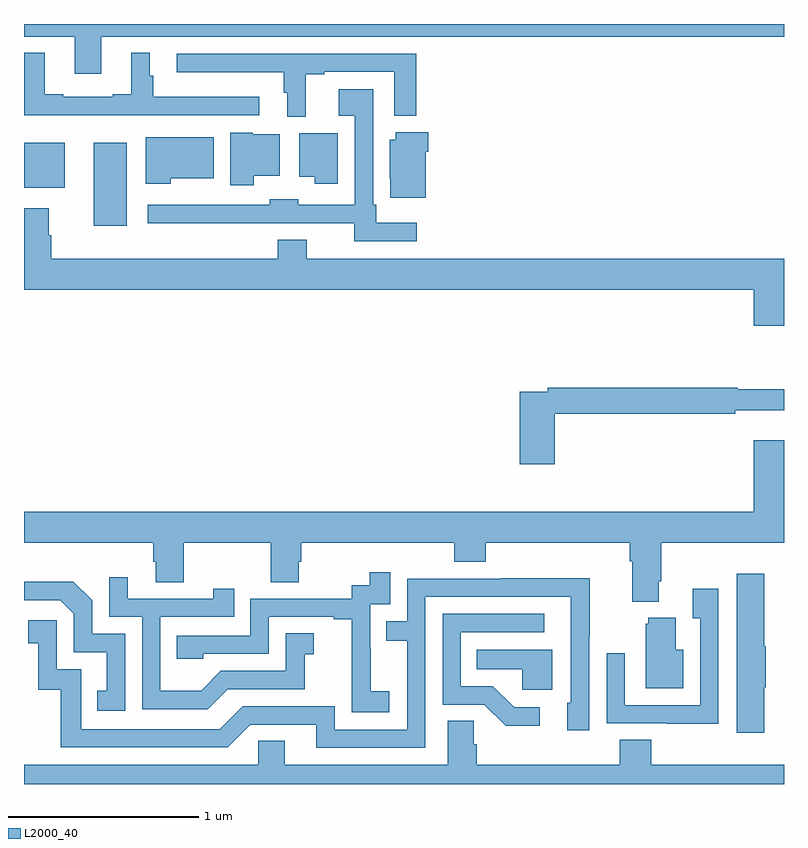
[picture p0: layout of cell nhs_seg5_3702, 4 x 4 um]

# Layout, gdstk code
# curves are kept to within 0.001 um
import gdstk
lib = gdstk.Library(unit=1e-6, precision=1e-09)
def R(c, l, rs):  # rectangles x0, y0, x1, y1
    for r in rs: c.add(gdstk.rectangle(r[:2], r[2:], *l))
def P(c, l, *ps):  # polygons
    for p in ps: c.add(gdstk.Polygon(p, *l))
L2000_40 = (2000, 40)

nhs_seg5_3702 = lib.new_cell('nhs_seg5_3702')
R(nhs_seg5_3702, L2000_40, [(329.366,883.736,329.542,884.173), (329,883.937,329.215,884.173)])
P(nhs_seg5_3702, L2000_40, [(329.407,884.732),(333,884.732),(333,884.799),(329,884.799),(329,884.732),(329.267,884.732),(329.267,884.538),(329.407,884.538)],
  [(329.538,884.319),(330.238,884.319),(330.238,884.416),(329.681,884.416),(329.681,884.526),(329.662,884.526),(329.662,884.647),(329.564,884.647),(329.564,884.428),(329.468,884.428),(329.468,884.415),(329.206,884.415),(329.206,884.428),(329.11,884.428),(329.11,884.647),(329,884.647),(329,884.318),(329.538,884.318)],
  [(330.484,884.535),(330.58,884.535),(330.58,884.547),(330.948,884.547),(330.948,884.315),(331.064,884.315),(331.064,884.643),(329.805,884.643),(329.805,884.546),(330.367,884.546),(330.367,884.436),(330.386,884.436),(330.386,884.31),(330.484,884.31)],
  [(331.066,883.753),(330.854,883.753),(330.854,883.849),(330.837,883.849),(330.837,884.455),(330.657,884.455),(330.657,884.315),(330.741,884.315),(330.741,883.848),(330.444,883.848),(330.444,883.876),(330.294,883.876),(330.294,883.848),(329.99,883.848),(329.99,883.849),(329.652,883.849),(329.652,883.751),(330.739,883.751),(330.739,883.656),(331.066,883.656)],
  [(331.114,884.126),(331.127,884.126),(331.127,884.23),(330.956,884.23),(330.956,884.191),(330.926,884.191),(330.926,883.987),(330.927,883.987),(330.927,883.884),(331.114,883.884)],
  [(330.208,884),(330.346,884),(330.346,884.218),(330.204,884.218),(330.204,884.227),(330.086,884.227),(330.086,883.95),(330.208,883.95)],
  [(330.652,884.224),(330.449,884.224),(330.449,883.994),(330.53,883.994),(330.53,883.958),(330.652,883.958)],
  [(329.772,883.988),(329.998,883.988),(329.998,884.203),(329.642,884.203),(329.642,883.958),(329.772,883.958)],
  [(333,883.564),(330.487,883.564),(330.487,883.663),(330.335,883.663),(330.335,883.564),(329.144,883.564),(329.144,883.688),(329.131,883.688),(329.131,883.828),(329,883.828),(329,883.4),(332.84,883.4),(332.84,883.212),(333,883.212)],
  [(331.793,882.748),(332.744,882.748),(332.744,882.767),(333,882.767),(333,882.877),(332.756,882.877),(332.756,882.884),(331.756,882.884),(331.756,882.864),(331.61,882.864),(331.61,882.483),(331.793,882.483)],
  [(332.341,881.866),(332.354,881.866),(332.354,882.068),(333,882.068),(333,882.607),(332.84,882.607),(332.84,882.232),(329,882.232),(329,882.068),(329.681,882.068),(329.681,881.97),(329.693,881.97),(329.693,881.86),(329.841,881.86),(329.841,882.068),(330.298,882.068),(330.298,881.86),(330.445,881.86),(330.445,881.97),(330.458,881.97),(330.458,882.068),(331.265,882.068),(331.265,881.969),(331.43,881.969),(331.43,882.068),(332.189,882.068),(332.189,881.972),(332.201,881.972),(332.201,881.759),(332.341,881.759)],
  [(330.922,881.287),(330.824,881.287),(330.824,881.516),(330.822,881.516),(330.822,881.745),(330.927,881.745),(330.927,881.914),(330.819,881.914),(330.819,881.844),(330.726,881.844),(330.726,881.775),(330.192,881.775),(330.192,881.58),(329.803,881.58),(329.803,881.457),(329.943,881.457),(329.943,881.484),(330.288,881.484),(330.288,881.679),(330.629,881.679),(330.629,881.667),(330.725,881.667),(330.725,881.383),(330.724,881.383),(330.724,881.177),(330.922,881.177)],
  [(332.896,881.308),(332.904,881.308),(332.904,881.525),(332.896,881.525),(332.896,881.905),(332.75,881.905),(332.75,881.07),(332.896,881.07)],
  [(330.073,881.298),(330.477,881.298),(330.477,881.483),(330.526,881.483),(330.526,881.593),(330.378,881.593),(330.378,881.394),(330.036,881.394),(329.932,881.29),(329.718,881.29),(329.718,881.679),(330.107,881.679),(330.107,881.827),(329.996,881.827),(329.996,881.775),(329.545,881.775),(329.545,881.887),(329.448,881.887),(329.448,881.679),(329.622,881.679),(329.622,881.193),(329.968,881.193)],
  [(331.113,881.784),(331.877,881.784),(331.878,881.226),(331.859,881.226),(331.859,881.082),(331.974,881.082),(331.974,881.575),(331.977,881.575),(331.977,881.882),(331.513,881.882),(331.513,881.88),(331.017,881.88),(331.017,881.655),(330.907,881.655),(330.907,881.554),(331.017,881.554),(331.017,881.085),(330.636,881.085),(330.636,881.208),(330.15,881.208),(330.03,881.088),(329.301,881.088),(329.301,881.403),(329.172,881.403),(329.172,881.662),(329.022,881.662),(329.022,881.541),(329.075,881.541),(329.075,881.295),(329.193,881.295),(329.193,880.992),(330.072,880.992),(330.192,881.112),(330.539,881.112),(330.539,880.989),(331.113,880.989)],
  [(329.532,881.589),(329.358,881.589),(329.358,881.766),(329.26,881.864),(329,881.864),(329,881.766),(329.19,881.766),(329.262,881.694),(329.262,881.493),(329.435,881.493),(329.435,881.289),(329.386,881.289),(329.386,881.184),(329.532,881.184)],
  [(332.655,881.827),(332.519,881.827),(332.519,881.671),(332.559,881.671),(332.559,881.214),(332.163,881.214),(332.163,881.488),(332.067,881.488),(332.067,881.118),(332.383,881.118),(332.383,881.117),(332.655,881.117)],
  [(331.714,881.202),(331.579,881.202),(331.468,881.313),(331.299,881.313),(331.299,881.598),(331.738,881.598),(331.738,881.694),(331.203,881.694),(331.203,881.217),(331.422,881.217),(331.535,881.105),(331.714,881.105)],
  [(332.47,881.506),(332.431,881.506),(332.431,881.674),(332.285,881.674),(332.285,881.643),(332.273,881.643),(332.273,881.303),(332.47,881.303)],
  [(331.78,881.506),(331.384,881.506),(331.384,881.402),(331.623,881.402),(331.623,881.294),(331.78,881.294)],
  [(333,880.9),(332.3,880.9),(332.3,881.033),(332.135,881.033),(332.135,880.9),(331.382,880.9),(331.382,881.009),(331.368,881.009),(331.368,881.132),(331.229,881.132),(331.229,880.9),(330.373,880.9),(330.373,881.027),(330.234,881.027),(330.234,880.9),(329,880.9),(329,880.799),(333,880.799)])

lib.write_gds('nhs_seg5_3702.gds')
